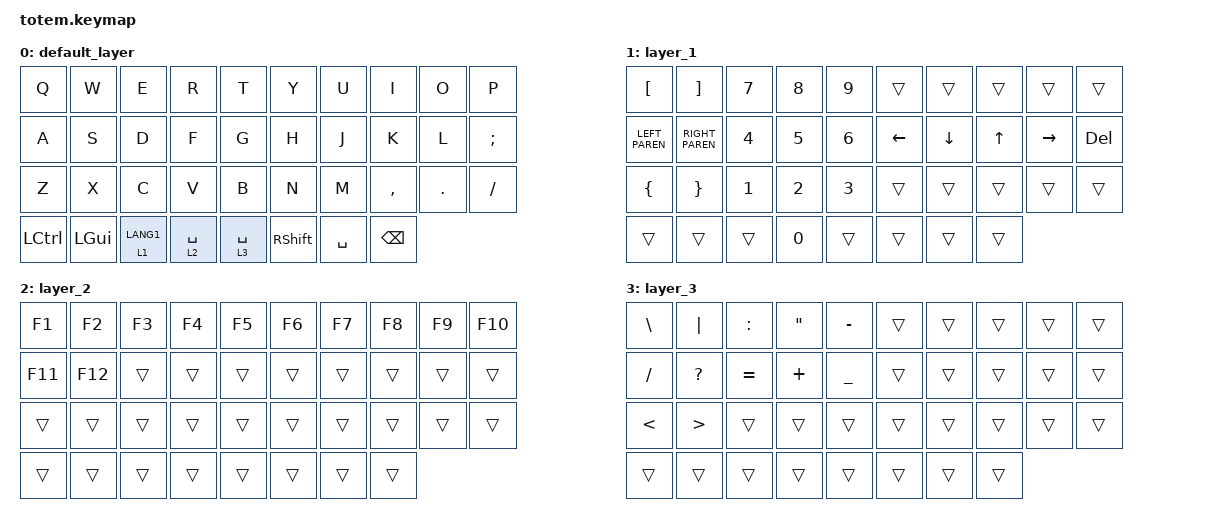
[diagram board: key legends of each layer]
/ {
    keymap {
        compatible = "zmk,keymap";

        default_layer {
            bindings = <
&kp Q        &kp W        &kp E        &kp R        &kp T              &kp Y        &kp U        &kp I        &kp O        &kp P
&kp A        &kp S        &kp D        &kp F        &kp G              &kp H        &kp J        &kp K        &kp L        &kp SEMI
&kp Z        &kp X        &kp C        &kp V        &kp B              &kp N        &kp M        &kp COMMA    &kp DOT      &kp FSLH
&kp LCTRL    &kp LGUI     &lt 1 LANG1   &lt 2 SPACE   &lt 3 SPACE          &kp RSHIFT   &kp SPACE    &kp BSPC
            >;
        };

        layer_1 {
            bindings = <
&kp LEFT_BRACKET  &kp RIGHT_BRACKET &kp N7       &kp N8       &kp N9             &trans       &trans       &trans       &trans       &trans
&kp LEFT_PAREN    &kp RIGHT_PAREN   &kp N4       &kp N5       &kp N6             &kp LEFT     &kp DOWN     &kp UP       &kp RIGHT    &kp DEL
&kp LEFT_BRACE    &kp RIGHT_BRACE   &kp N1       &kp N2       &kp N3             &trans       &trans       &trans       &trans       &trans
&trans            &trans            &trans       &kp N0       &trans             &trans       &trans       &trans
            >;
        };

        layer_2 {
            bindings = <
&kp F1       &kp F2       &kp F3       &kp F4       &kp F5             &kp F6       &kp F7       &kp F8       &kp F9       &kp F10
&kp F11      &kp F12      &trans       &trans       &trans             &trans       &trans       &trans       &trans       &trans
&trans       &trans       &trans       &trans       &trans             &trans       &trans       &trans       &trans       &trans
&trans       &trans       &trans       &trans       &trans             &trans       &trans       &trans
            >;
        };

        layer_3 {
            bindings = <
&kp BSLH     &kp PIPE     &kp COLON    &kp DQT      &kp MINUS          &trans       &trans       &trans       &trans       &trans
&kp FSLH     &kp QMARK    &kp EQUAL    &kp PLUS     &kp UNDER          &trans       &trans       &trans       &trans       &trans
&kp LT       &kp GT       &trans       &trans       &trans             &trans       &trans       &trans       &trans       &trans
&trans       &trans       &trans       &trans       &trans             &trans       &trans       &trans
            >;
        };
    };
};
